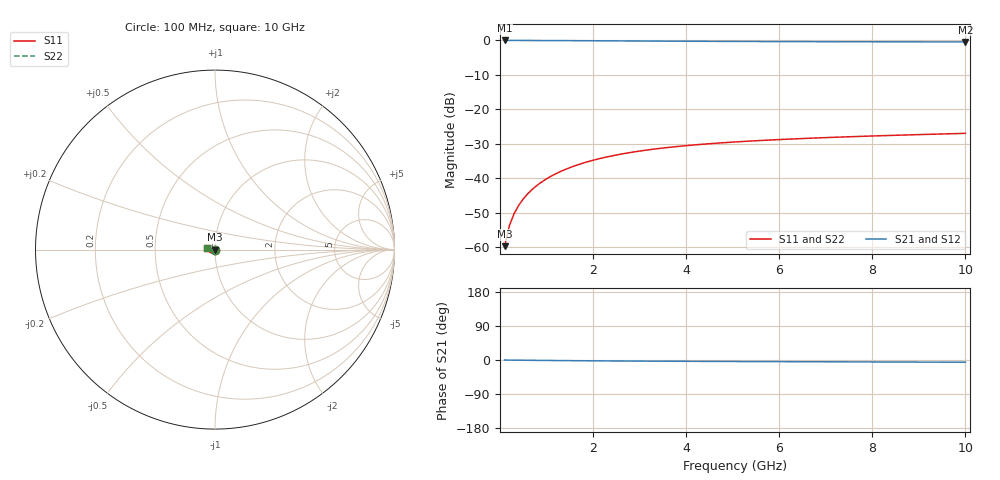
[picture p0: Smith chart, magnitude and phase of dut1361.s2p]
! Touchstone file exported from HFSS 2024.1.0
!  File:  C:/UserFiles/LocalFiles/RDL_TSV_Batchsim/temp_TSV1_1361_1780378147.aedt
!  Generated:  01:35:09 PM Jun  2, 2026
!  Design:  TSV1
!  Project:  temp_TSV1_1361_1780378147
!  Setup:  Setup1
!  Solution:  Sweep
! Variables:
!  dtsv = 7.38um
!  hbump = 3um
!  htsv = 92.89um
!  lrdl = 252.1521522um
!  p = 40
!  p1 = 43.79um
!  t = 500um
!  trdl = 3um
!  wrdl = 24.89489489um
# GHz S MA R 50.000000
! Terminal data exported
! Port[1] = TSV22_T1
! Port[2] = TSV22_T2
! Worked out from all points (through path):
!   100 points, 100 MHz to 10 GHz, reference 50 ohm
!   highest |S21| = 0.00 dB at 100 MHz (marker M1); lowest = -0.4 dB at 10 GHz (marker M2)
!   lowest |S11| = -59.7 dB at 100 MHz (marker M3), VSWR 1.00, Z = 50 - j0.101 ohm
!   |S11| at or under -10 dB: start of sweep to end of sweep
!   |S22| runs from -59.7 to -26.9 dB; largest |S21 - S12| = 2.5e-15
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0.1  0.001041 -75.4  0.9997 -0.1  0.9997 -0.1  0.001041 -75.4
! Gamma 0 0 0 0
! Port Impedance 50 0 50 0
0.2  0.002034 -85.0  0.9996 -0.2  0.9996 -0.2  0.002034 -85.0
0.3  0.003037 -89.5  0.9994 -0.4  0.9994 -0.4  0.003037 -89.5
0.4  0.004036 -92.6  0.9992 -0.5  0.9992 -0.5  0.004036 -92.6
0.5  0.00503 -95.1  0.9989 -0.6  0.9989 -0.6  0.00503 -95.1
0.6  0.006016 -97.4  0.9986 -0.7  0.9986 -0.7  0.006016 -97.4
0.7  0.006993 -99.5  0.9982 -0.8  0.9982 -0.8  0.006993 -99.5
0.8  0.007958 -101.5  0.9977 -1.0  0.9977 -1.0  0.007958 -101.5
0.9  0.008911 -103.4  0.9973 -1.1  0.9973 -1.1  0.008911 -103.4
1.1  0.01078 -107.0  0.9962 -1.3  0.9962 -1.3  0.01078 -107.0
1.4  0.01345 -112.2  0.9942 -1.6  0.9942 -1.6  0.01345 -112.2
1.6  0.01515 -115.4  0.9928 -1.8  0.9928 -1.8  0.01515 -115.4
1.8  0.01677 -118.6  0.9913 -2.0  0.9913 -2.0  0.01677 -118.6
2.1  0.01906 -123.1  0.9889 -2.2  0.9889 -2.2  0.01906 -123.1
2.5  0.02183 -128.7  0.9856 -2.6  0.9856 -2.6  0.02183 -128.7
2.9  0.02431 -134.0  0.9824 -2.8  0.9824 -2.8  0.02431 -134.0
3.4  0.02703 -140.0  0.9785 -3.1  0.9785 -3.1  0.02703 -140.0
4.2  0.03065 -148.6  0.9729 -3.6  0.9729 -3.6  0.03065 -148.6
5.1  0.0339 -157.0  0.9676 -4.0  0.9676 -4.0  0.0339 -157.0
6.7  0.03832 -169.4  0.9606 -4.6  0.9606 -4.6  0.03832 -169.4
8.4  0.04198 179.9  0.9556 -5.3  0.9556 -5.3  0.04198 179.9
10  0.04498 171.4  0.9522 -5.9  0.9522 -5.9  0.04498 171.4
